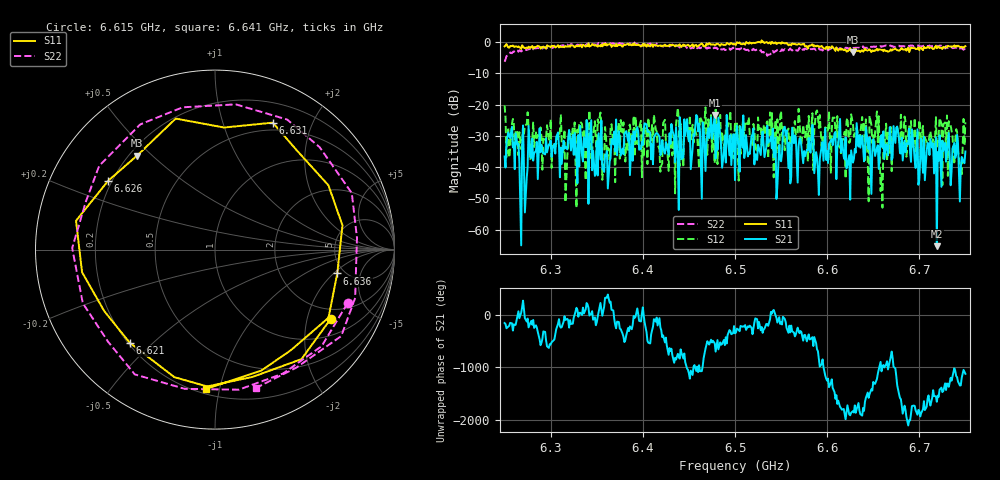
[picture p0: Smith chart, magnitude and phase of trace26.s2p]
# Hz S RI R 50
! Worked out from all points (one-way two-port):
!   401 points, 6.25 GHz to 6.75 GHz, reference 50 ohm
!   highest |S21| = -23.31 dB at 6.478 GHz (marker M1); lowest = -65.3 dB at 6.719 GHz (marker M2)
!   lowest |S11| = -3.3 dB at 6.628 GHz (marker M3), VSWR 5.26, Z = 11.5 + j22.5 ohm
!   |S11| at or under -10 dB: nowhere
!   |S22| runs from -6.3 to -0.2 dB; largest |S21 - S12| = 0.11
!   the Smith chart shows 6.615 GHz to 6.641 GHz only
!   S11 on the Smith chart (normalised r, x): 6.615 GHz: 1.57, -2.80; 6.621 GHz: 0.21, -0.43; 6.626 GHz: 0.18, +0.28; 6.631 GHz: 0.41, +1.47; 6.636 GHz: 4.35, -2.23; 6.641 GHz: 0.23, -0.91
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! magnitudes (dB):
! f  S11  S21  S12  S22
! 6.25 GHz  -1.4  -36.6  -20.3  -6.3
! 6.258 GHz  -1.3  -27.1  -26.1  -3.6
! 6.27 GHz  -1.5  -26.7  -27.0  -2.6
! 6.316 GHz  -1.4  -33.4  -51.2  -1.2
! 6.334 GHz  -1.7  -36.3  -26.2  -0.9
! 6.418 GHz  -1.2  -30.3  -34.3  -0.9
! 6.478 GHz  -1.0  -23.3  -38.8  -1.7
! 6.5 GHz  -0.8  -44.2  -25.6  -2.3
! 6.584 GHz  -0.7  -26.5  -22.8  -2.3
! 6.615 GHz  -2.5  -35.3  -35.6  -2.0
! 6.621 GHz  -3.1  -40.4  -25.2  -1.7
! 6.626 GHz  -3.0  -34.7  -23.1  -2.3
! 6.628 GHz  -3.3  -38.6  -26.1  -2.0
! 6.631 GHz  -2.2  -35.4  -28.4  -1.8
! 6.636 GHz  -3.2  -33.8  -29.1  -2.0
! 6.641 GHz  -2.2  -36.9  -37.8  -1.9
! 6.654 GHz  -2.2  -33.8  -22.2  -1.3
! 6.66 GHz  -2.5  -33.7  -53.0  -1.4
! 6.668 GHz  -2.9  -27.2  -35.4  -1.2
! 6.719 GHz  -2.0  -65.3  -33.8  -1.2
! 6.744 GHz  -1.6  -51.0  -39.6  -2.1
! 6.75 GHz  -1.4  -35.0  -25.7  -2.0
